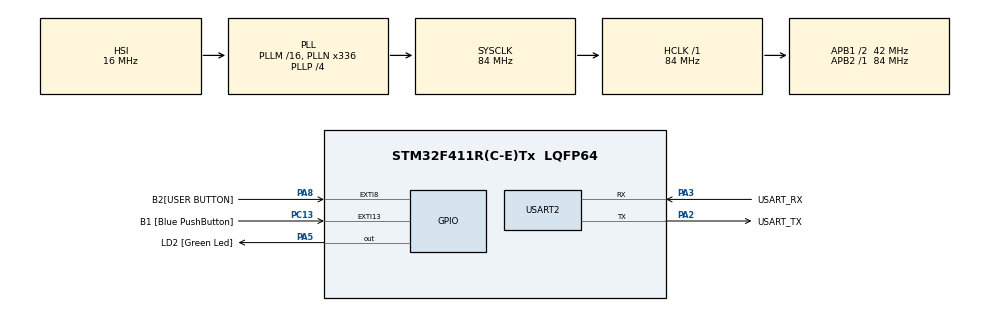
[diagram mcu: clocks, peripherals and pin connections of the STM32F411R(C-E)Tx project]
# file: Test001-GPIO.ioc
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Mcu.Family=STM32F4
Mcu.Name=STM32F411R(C-E)Tx
Mcu.Package=LQFP64
NVIC.EXTI15_10_IRQn=true\:0\:0\:false\:false\:true\:true\:true\:true
NVIC.EXTI9_5_IRQn=true\:0\:0\:false\:false\:true\:true\:true\:true
NVIC.PriorityGroup=NVIC_PRIORITYGROUP_0
PA13.GPIO_Label=TMS
PA13.Mode=Serial_Wire
PA13.Signal=SYS_JTMS-SWDIO
PA14.GPIO_Label=TCK
PA14.Mode=Serial_Wire
PA14.Signal=SYS_JTCK-SWCLK
PA2.GPIO_Label=USART_TX
PA2.Mode=Asynchronous
PA2.Signal=USART2_TX
PA3.GPIO_Label=USART_RX
PA3.Mode=Asynchronous
PA3.Signal=USART2_RX
PA5.GPIO_Label=LD2 [Green Led]
PA5.Signal=GPIO_Output
PA8.GPIO_Label=B2[USER BUTTON]
PA8.Signal=GPXTI8
PB3.GPIO_Label=SWO
PB3.Signal=SYS_JTDO-SWO
PC13-ANTI_TAMP.GPIO_Label=B1 [Blue PushButton]
PC13-ANTI_TAMP.GPIO_ModeDefaultEXTI=GPIO_MODE_IT_FALLING
PC13-ANTI_TAMP.Signal=GPXTI13
PC14-OSC32_IN.Mode=LSE-External-Oscillator
PC14-OSC32_IN.Signal=RCC_OSC32_IN
PC15-OSC32_OUT.Mode=LSE-External-Oscillator
PC15-OSC32_OUT.Signal=RCC_OSC32_OUT
PH0\ -\ OSC_IN.Mode=HSE-External-Clock-Source
PH0\ -\ OSC_IN.Signal=RCC_OSC_IN
PH1\ -\ OSC_OUT.Mode=HSE-External-Clock-Source
PH1\ -\ OSC_OUT.Signal=RCC_OSC_OUT
ProjectManager.HeapSize=0x200
ProjectManager.StackSize=0x400
ProjectManager.TargetToolchain=STM32CubeIDE
RCC.48MHZClocksFreq_Value=84000000
RCC.AHBFreq_Value=84000000
RCC.APB1CLKDivider=RCC_HCLK_DIV2
RCC.APB1Freq_Value=42000000
RCC.APB1TimFreq_Value=84000000
RCC.APB2Freq_Value=84000000
RCC.APB2TimFreq_Value=84000000
RCC.CortexFreq_Value=84000000
RCC.FLatency-AdvancedSettings=FLASH_LATENCY_2
RCC.HCLKFreq_Value=84000000
RCC.HSE_VALUE=8000000
RCC.HSI_VALUE=16000000
RCC.PLLN=336
RCC.PLLP=RCC_PLLP_DIV4
RCC.SYSCLKFreq_VALUE=84000000
RCC.SYSCLKSource=RCC_SYSCLKSOURCE_PLLCLK
RCC.VCOOutputFreq_Value=336000000
USART2.VirtualMode=VM_ASYNC
board=NUCLEO-F411RE

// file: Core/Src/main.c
/* USER CODE BEGIN Header */
/**
  ******************************************************************************
  * @file           : main.c
  * @brief          : Main program body
  ******************************************************************************
  * @attention
  *
  * Copyright (c) 2024 STMicroelectronics.
  * All rights reserved.
  *
  * This software is licensed under terms that can be found in the LICENSE file
  * in the root directory of this software component.
  * If no LICENSE file comes with this software, it is provided AS-IS.
  *
  ******************************************************************************
  */
/* USER CODE END Header */
#include "main.h"

/* USER CODE BEGIN Includes */
#include <stdio.h>
/* USER CODE END Includes */

UART_HandleTypeDef huart2;

/* USER CODE BEGIN PV */
int __io_putchar(int ch)  //1문자단위로 포트로 출력
{
	HAL_UART_Transmit(&huart2, &ch, 1, 10);

}
//int __io_getchar(void);

/* USER CODE END PV */

void SystemClock_Config(void);
static void MX_GPIO_Init(void);
static void MX_USART2_UART_Init(void);

/* USER CODE BEGIN 0 */
int count=0;
int mode=0;
void HAL_GPIO_EXTI_Callback(uint16_t GPIO_Pin)  //EXTI15(B1)ISR
{
//	if (GPIO_Pin==B1_Pin)
//	{
//		mode++;
//		if (mode>1) mode=0;
//	}
//	else if(GPIO_Pin==B2_Pin)
//	{
//
//	}

	switch(GPIO_Pin){
	case B1_Pin:
		mode++;
		if (mode>1) mode=0;
		break;

	case B2_Pin:
		printf("%d times pressed\r\n", count++);
		break;

	}
}

/* USER CODE END 0 */

int main(void)
{

  /* MCU Configuration--------------------------------------------------------*/

  /* Reset of all peripherals, Initializes the Flash interface and the Systick. */
  HAL_Init();

  /* Configure the system clock */
  SystemClock_Config();

  /* Initialize all configured peripher;als */
  MX_GPIO_Init();
  MX_USART2_UART_Init();
  /* USER CODE BEGIN 2 */
  printf("\033[2J\n");  //CLEAR SCREEN 프롬포트 화면 초기화
  printf("\033[1;1H\n");  //y;xH (x,y) 위치로 커서 옮기기
  //git hub upload test
  /* USER CODE END 2 */

  /* Infinite loop */
  /* USER CODE BEGIN WHILE */
  while (1)
  {
	  //int a= HAL_GPIO_ReadPin(GPIOC, GPIO_PIN_13);  //PC13: B1
	  if (mode==0)
	  {

		  HAL_GPIO_WritePin(LD2_GPIO_Port, LD2_Pin, 1);
		  HAL_Delay(500);  //500ms
		  HAL_GPIO_WritePin(LD2_GPIO_Port, LD2_Pin, 0);
		  HAL_Delay(500);  //500ms
	  }
    /* USER CODE END WHILE */

  }
}

void SystemClock_Config(void)
{
  RCC_OscInitTypeDef RCC_OscInitStruct = {0};
  RCC_ClkInitTypeDef RCC_ClkInitStruct = {0};

  /** Configure the main internal regulator output voltage
  */
  __HAL_RCC_PWR_CLK_ENABLE();
  __HAL_PWR_VOLTAGESCALING_CONFIG(PWR_REGULATOR_VOLTAGE_SCALE1);

  /** Initializes the RCC Oscillators according to the specified parameters
  * in the RCC_OscInitTypeDef structure.
  */
  RCC_OscInitStruct.OscillatorType = RCC_OSCILLATORTYPE_HSI;
  RCC_OscInitStruct.HSIState = RCC_HSI_ON;
  RCC_OscInitStruct.HSICalibrationValue = RCC_HSICALIBRATION_DEFAULT;
  RCC_OscInitStruct.PLL.PLLState = RCC_PLL_ON;
  RCC_OscInitStruct.PLL.PLLSource = RCC_PLLSOURCE_HSI;
  RCC_OscInitStruct.PLL.PLLM = 16;
  RCC_OscInitStruct.PLL.PLLN = 336;
  RCC_OscInitStruct.PLL.PLLP = RCC_PLLP_DIV4;
  RCC_OscInitStruct.PLL.PLLQ = 4;
  if (HAL_RCC_OscConfig(&RCC_OscInitStruct) != HAL_OK)
  {
    Error_Handler();
  }

  /** Initializes the CPU, AHB and APB buses clocks
  */
  RCC_ClkInitStruct.ClockType = RCC_CLOCKTYPE_HCLK|RCC_CLOCKTYPE_SYSCLK
                              |RCC_CLOCKTYPE_PCLK1|RCC_CLOCKTYPE_PCLK2;
  RCC_ClkInitStruct.SYSCLKSource = RCC_SYSCLKSOURCE_PLLCLK;
  RCC_ClkInitStruct.AHBCLKDivider = RCC_SYSCLK_DIV1;
  RCC_ClkInitStruct.APB1CLKDivider = RCC_HCLK_DIV2;
  RCC_ClkInitStruct.APB2CLKDivider = RCC_HCLK_DIV1;

  if (HAL_RCC_ClockConfig(&RCC_ClkInitStruct, FLASH_LATENCY_2) != HAL_OK)
  {
    Error_Handler();
  }
}

static void MX_USART2_UART_Init(void)
{

  huart2.Instance = USART2;
  huart2.Init.BaudRate = 115200;
  huart2.Init.WordLength = UART_WORDLENGTH_8B;
  huart2.Init.StopBits = UART_STOPBITS_1;
  huart2.Init.Parity = UART_PARITY_NONE;
  huart2.Init.Mode = UART_MODE_TX_RX;
  huart2.Init.HwFlowCtl = UART_HWCONTROL_NONE;
  huart2.Init.OverSampling = UART_OVERSAMPLING_16;
  if (HAL_UART_Init(&huart2) != HAL_OK)
  {
    Error_Handler();
  }

}

static void MX_GPIO_Init(void)
{
  GPIO_InitTypeDef GPIO_InitStruct = {0};

  /* GPIO Ports Clock Enable */
  __HAL_RCC_GPIOC_CLK_ENABLE();
  __HAL_RCC_GPIOH_CLK_ENABLE();
  __HAL_RCC_GPIOA_CLK_ENABLE();
  __HAL_RCC_GPIOB_CLK_ENABLE();

  /*Configure GPIO pin Output Level */
  HAL_GPIO_WritePin(LD2_GPIO_Port, LD2_Pin, GPIO_PIN_RESET);

  /*Configure GPIO pin : B1_Pin */
  GPIO_InitStruct.Pin = B1_Pin;
  GPIO_InitStruct.Mode = GPIO_MODE_IT_FALLING;
  GPIO_InitStruct.Pull = GPIO_NOPULL;
  HAL_GPIO_Init(B1_GPIO_Port, &GPIO_InitStruct);

  /*Configure GPIO pin : LD2_Pin */
  GPIO_InitStruct.Pin = LD2_Pin;
  GPIO_InitStruct.Mode = GPIO_MODE_OUTPUT_PP;
  GPIO_InitStruct.Pull = GPIO_NOPULL;
  GPIO_InitStruct.Speed = GPIO_SPEED_FREQ_LOW;
  HAL_GPIO_Init(LD2_GPIO_Port, &GPIO_InitStruct);

  /*Configure GPIO pin : B2_Pin */
  GPIO_InitStruct.Pin = B2_Pin;
  GPIO_InitStruct.Mode = GPIO_MODE_IT_RISING;
  GPIO_InitStruct.Pull = GPIO_NOPULL;
  HAL_GPIO_Init(B2_GPIO_Port, &GPIO_InitStruct);

  /* EXTI interrupt init*/
  HAL_NVIC_SetPriority(EXTI9_5_IRQn, 0, 0);
  HAL_NVIC_EnableIRQ(EXTI9_5_IRQn);

  HAL_NVIC_SetPriority(EXTI15_10_IRQn, 0, 0);
  HAL_NVIC_EnableIRQ(EXTI15_10_IRQn);

}

void Error_Handler(void)
{
  __disable_irq();
  while (1)
  {
  }
}
